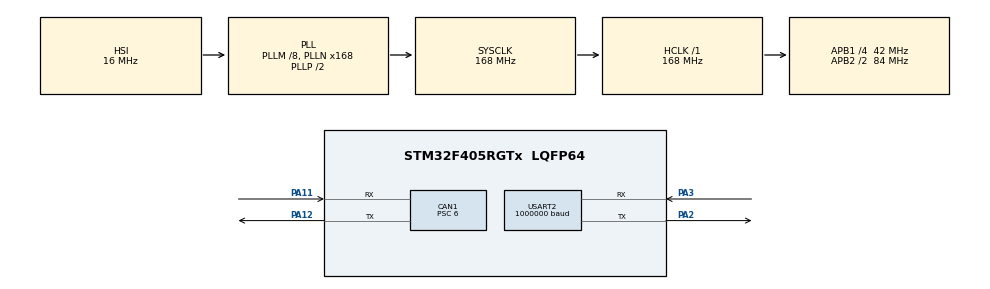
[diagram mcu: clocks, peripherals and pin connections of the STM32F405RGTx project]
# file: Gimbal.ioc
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CAN1.BS1=CAN_BS1_4TQ
CAN1.BS2=CAN_BS2_2TQ
CAN1.CalculateBaudRate=1000000
CAN1.CalculateTimeBit=1000
CAN1.CalculateTimeQuantum=142.85714285714286
CAN1.Prescaler=6
FREERTOS.Tasks01=defaultTask,24,128,StartDefaultTask,Default,NULL,Dynamic,NULL,NULL;yaw,8,128,yaw_control,Default,NULL,Dynamic,NULL,NULL
Mcu.Family=STM32F4
Mcu.Name=STM32F405RGTx
Mcu.Package=LQFP64
NVIC.PriorityGroup=NVIC_PRIORITYGROUP_4
NVIC.TIM1_BRK_TIM9_IRQn=true\:15\:0\:false\:false\:true\:false\:false\:true\:true
NVIC.TimeBase=TIM1_BRK_TIM9_IRQn
NVIC.TimeBaseIP=TIM9
PA11.Mode=CAN_Activate
PA11.Signal=CAN1_RX
PA12.Mode=CAN_Activate
PA12.Signal=CAN1_TX
PA13.Mode=Serial_Wire
PA13.Signal=SYS_JTMS-SWDIO
PA14.Mode=Serial_Wire
PA14.Signal=SYS_JTCK-SWCLK
PA2.Mode=Asynchronous
PA2.Signal=USART2_TX
PA3.Mode=Asynchronous
PA3.Signal=USART2_RX
PC14-OSC32_IN.Mode=LSE-External-Oscillator
PC14-OSC32_IN.Signal=RCC_OSC32_IN
PC15-OSC32_OUT.Mode=LSE-External-Oscillator
PC15-OSC32_OUT.Signal=RCC_OSC32_OUT
PH0-OSC_IN.Mode=HSE-External-Oscillator
PH0-OSC_IN.Signal=RCC_OSC_IN
PH1-OSC_OUT.Mode=HSE-External-Oscillator
PH1-OSC_OUT.Signal=RCC_OSC_OUT
ProjectManager.HeapSize=0x200
ProjectManager.StackSize=0x400
ProjectManager.TargetToolchain=MDK-ARM V5.32
RCC.48MHZClocksFreq_Value=84000000
RCC.AHBFreq_Value=168000000
RCC.APB1CLKDivider=RCC_HCLK_DIV4
RCC.APB1Freq_Value=42000000
RCC.APB1TimFreq_Value=84000000
RCC.APB2CLKDivider=RCC_HCLK_DIV2
RCC.APB2Freq_Value=84000000
RCC.APB2TimFreq_Value=168000000
RCC.CortexFreq_Value=168000000
RCC.HCLKFreq_Value=168000000
RCC.HSE_VALUE=25000000
RCC.HSI_VALUE=16000000
RCC.PLLM=8
RCC.PLLN=168
RCC.SYSCLKFreq_VALUE=168000000
RCC.SYSCLKSource=RCC_SYSCLKSOURCE_PLLCLK
RCC.VCOOutputFreq_Value=336000000
USART2.BaudRate=1000000
USART2.Parity=PARITY_EVEN
USART2.VirtualMode=VM_ASYNC
VP_FREERTOS_VS_CMSIS_V2.Mode=CMSIS_V2
VP_SYS_VS_tim9.Mode=TIM9
board=custom

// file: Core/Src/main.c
/* USER CODE BEGIN Header */
/**
 ******************************************************************************
 * @file           : main.c
 * @brief          : Main program body
 ******************************************************************************
 * @attention
 *
 * Copyright (c) 2024 STMicroelectronics.
 * All rights reserved.
 *
 * This software is licensed under terms that can be found in the LICENSE file
 * in the root directory of this software component.
 * If no LICENSE file comes with this software, it is provided AS-IS.
 *
 ******************************************************************************
 */
/* USER CODE END Header */
#include "main.h"
#include "cmsis_os.h"
#include "can.h"
#include "usart.h"
#include "gpio.h"

/* USER CODE BEGIN PM */
QueueHandle_t QueueHandler;
/* USER CODE END PM */

void SystemClock_Config(void);
void MX_FREERTOS_Init(void);

int main(void)
{

  /* MCU Configuration--------------------------------------------------------*/

  /* Reset of all peripherals, Initializes the Flash interface and the Systick. */
  HAL_Init();

  /* Configure the system clock */
  SystemClock_Config();

  /* Initialize all configured peripherals */
  MX_GPIO_Init();
  MX_CAN1_Init();
  MX_USART2_UART_Init();

  /* Init scheduler */
  osKernelInitialize(); /* Call init function for freertos objects (in freertos.c) */
  MX_FREERTOS_Init();

  /* Start scheduler */
  osKernelStart();
  /* We should never get here as control is now taken by the scheduler */
  /* Infinite loop */
  while (1)
  {

  }
}

void SystemClock_Config(void)
{
  RCC_OscInitTypeDef RCC_OscInitStruct = {0};
  RCC_ClkInitTypeDef RCC_ClkInitStruct = {0};

  /** Configure the main internal regulator output voltage
   */
  __HAL_RCC_PWR_CLK_ENABLE();
  __HAL_PWR_VOLTAGESCALING_CONFIG(PWR_REGULATOR_VOLTAGE_SCALE1);

  /** Initializes the RCC Oscillators according to the specified parameters
   * in the RCC_OscInitTypeDef structure.
   */
  RCC_OscInitStruct.OscillatorType = RCC_OSCILLATORTYPE_HSI;
  RCC_OscInitStruct.HSIState = RCC_HSI_ON;
  RCC_OscInitStruct.HSICalibrationValue = RCC_HSICALIBRATION_DEFAULT;
  RCC_OscInitStruct.PLL.PLLState = RCC_PLL_ON;
  RCC_OscInitStruct.PLL.PLLSource = RCC_PLLSOURCE_HSI;
  RCC_OscInitStruct.PLL.PLLM = 8;
  RCC_OscInitStruct.PLL.PLLN = 168;
  RCC_OscInitStruct.PLL.PLLP = RCC_PLLP_DIV2;
  RCC_OscInitStruct.PLL.PLLQ = 4;
  if (HAL_RCC_OscConfig(&RCC_OscInitStruct) != HAL_OK)
  {
    Error_Handler();
  }

  /** Initializes the CPU, AHB and APB buses clocks
   */
  RCC_ClkInitStruct.ClockType = RCC_CLOCKTYPE_HCLK | RCC_CLOCKTYPE_SYSCLK | RCC_CLOCKTYPE_PCLK1 | RCC_CLOCKTYPE_PCLK2;
  RCC_ClkInitStruct.SYSCLKSource = RCC_SYSCLKSOURCE_PLLCLK;
  RCC_ClkInitStruct.AHBCLKDivider = RCC_SYSCLK_DIV1;
  RCC_ClkInitStruct.APB1CLKDivider = RCC_HCLK_DIV4;
  RCC_ClkInitStruct.APB2CLKDivider = RCC_HCLK_DIV2;

  if (HAL_RCC_ClockConfig(&RCC_ClkInitStruct, FLASH_LATENCY_5) != HAL_OK)
  {
    Error_Handler();
  }
}

/* USER CODE BEGIN 4 */
void HAL_UART_RxCpltCallback(UART_HandleTypeDef *huart)
{
  if (huart->Instance == USART2)
  {
    HAL_UART_Receive_DMA(&huart2, (uint8_t *)RxBuffer, LENGTH);
  }
}

void HAL_UART_IdleCpltCallback(UART_HandleTypeDef *huart)
{
  BaseType_t xHigherPriorityTaskWoken = pdFALSE;

  xSemaphoreGiveFromISR(myBinarySem01Handle, &xHigherPriorityTaskWoken);
  //	xSemaphoreGive(myBinarySem01Handle);

  RxFlag = 1;
  HAL_UART_DMAStop(&huart2); // 关闭DMA，每次空闲都会进函数

  if (RxFlag == 1)
  {
    RxFlag = 0;
    RecCount = LENGTH - __HAL_DMA_GET_COUNTER(&hdma_usart2_rx);
    //	printf("%s\r\n",RxBuffer);
    RecCount = 0;
    HAL_UART_Receive_DMA(&huart2, (uint8_t *)RxBuffer, LENGTH);
  }
}
/* USER CODE END 4 */

void HAL_TIM_PeriodElapsedCallback(TIM_HandleTypeDef *htim)
{
  if (htim->Instance == TIM9)
  {
    HAL_IncTick();
  }
}

void Error_Handler(void)
{
  __disable_irq();
  while (1)
  {
  }
}

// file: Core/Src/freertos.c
/* USER CODE BEGIN Header */
/**
 ******************************************************************************
 * File Name          : freertos.c
 * Description        : Code for freertos applications
 ******************************************************************************
 * @attention
 *
 * Copyright (c) 2024 STMicroelectronics.
 * All rights reserved.
 *
 * This software is licensed under terms that can be found in the LICENSE file
 * in the root directory of this software component.
 * If no LICENSE file comes with this software, it is provided AS-IS.
 *
 ******************************************************************************
 */
/* USER CODE END Header */

#include "FreeRTOS.h"
#include "task.h"
#include "main.h"
#include "cmsis_os.h"

/* USER CODE BEGIN Includes */
#include "DR16_control.h"
/* USER CODE END Includes */

/* USER CODE BEGIN PD */
QueueHandle_t QueueHandler;
/* USER CODE END PD */

/* Definitions for defaultTask */
osThreadId_t defaultTaskHandle;
const osThreadAttr_t defaultTask_attributes = {
    .name = "defaultTask",
    .stack_size = 128 * 4,
    .priority = (osPriority_t)osPriorityNormal,
};
/* Definitions for yaw */
osThreadId_t yawHandle;
const osThreadAttr_t yaw_attributes = {
    .name = "yaw",
    .stack_size = 128 * 4,
    .priority = (osPriority_t)osPriorityLow,
};

void StartDefaultTask(void *argument);
void yaw_control(void *argument);

void MX_FREERTOS_Init(void); /* (MISRA C 2004 rule 8.1) */

void MX_FREERTOS_Init(void)
{

  /* USER CODE BEGIN RTOS_SEMAPHORES */
  /* add semaphores, ... */
  osSemaphoreDef(myBinarySem01);
  myBinarySem01Handle = osSemaphoreCreate(osSemaphore(myBinarySem01), 1);
  /* USER CODE END RTOS_SEMAPHORES */

  /* USER CODE BEGIN RTOS_QUEUES */
  /* add queues, ... */
  QueueHandler = xQueueCreate(20, 20);
  /* USER CODE END RTOS_QUEUES */

  /* Create the thread(s) */
  /* creation of defaultTask */
  defaultTaskHandle = osThreadNew(StartDefaultTask, NULL, &defaultTask_attributes);

  /* creation of yaw */
  yawHandle = osThreadNew(yaw_control, NULL, &yaw_attributes);

}

void StartDefaultTask(void *argument)
{
  /* USER CODE BEGIN StartDefaultTask */
  uint32_t tick_1 = 0;
  uint32_t tick_2 = 0;
  uint32_t tick_interval = 0;
  /* Infinite loop */
  for (;;)
  {
    tick_2 = HAL_GetTick(); // 获取当前时刻的tick值
    if (xSemaphoreTake(myBinarySem01Handle, 100) == pdTRUE)
      tick_1 = HAL_GetTick();        // 再次获取
    tick_interval = tick_1 - tick_2; // 判断两次tick之间的时间差

    if (tick_interval <= 100) // 如果小于等于100，说明在等待时间内获取了信号量
    {
      RemoteDataProcess((uint8_t *)RxBuffer);
    }
    else // 如果大于100，说明为超时退出
    {
      memset(&RC_CtrlData, 0, sizeof(RC_CtrlData));
    }
    xQueueSend(QueueHandler, &RC_CtrlData, 0);

    vTaskDelay(1);
  }
  /* USER CODE END StartDefaultTask */
}

void yaw_control(void *argument)
{
  /* USER CODE BEGIN yaw_control */
  __HAL_UART_ENABLE_IT(&huart2, UART_IT_IDLE);                // 使能中断
  HAL_UART_Receive_DMA(&huart2, (uint8_t *)RxBuffer, LENGTH); // �?启DMA中断

  uint32_t TxID = 0x1FF;
  uint8_t TxLength = 8;
  uint8_t TxData[8] = {0};
  uint8_t TxData_1[8] = {0};

  HAL_CAN_Start(&hcan1);

  FilterInit();

  PID_Init(&mypid, 3, 1, 5, 20000, 15000);

  float prev_ema = 0; // 初始 EMA �?
  /* Infinite loop */
  for (;;)
  {
    xQueueReceive(QueueHandler, &RC_CtrlData, 0);

    TickType_t xLastWakeTime;
    xLastWakeTime = xTaskGetTickCount();

    targetValue = RC_CtrlData.rc.ch0 * 25000 / 1300;

    CAN1_Receive(&RxID, &RxLength, RxData);
    Speed = (RxData[2] << 8) | RxData[3];

    feedbackValue = Speed; // 这里获取到被控对象的反馈�?

    float ema_result = emaFilter(feedbackValue, &prev_ema, alpha);

    PID_Calc(&mypid, targetValue, ema_result); // 进行PID计算，结果在output成员变量

    TxData[0] = (((int16_t)mypid.output) >> 8) & 0xff; // 右移八位是因�?16位数据只有后面八位可以存�?8位的数组
    TxData[1] = ((int16_t)mypid.output) & 0xff;

    CAN1_Transmit(TxID, TxLength, TxData);

    vTaskDelayUntil(&xLastWakeTime, 1);
  }
  /* USER CODE END yaw_control */
}
